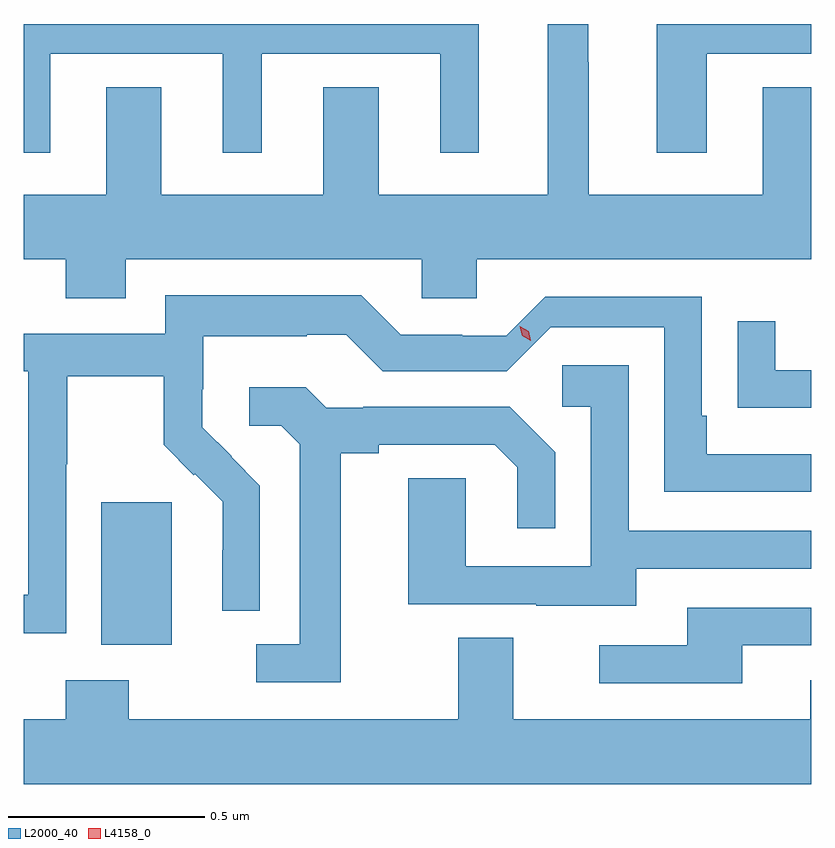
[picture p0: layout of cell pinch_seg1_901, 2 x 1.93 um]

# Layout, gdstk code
import gdstk
lib = gdstk.Library(unit=1e-6, precision=1e-09)
def R(c, l, rs):  # rectangles x0, y0, x1, y1
    for r in rs: c.add(gdstk.rectangle(r[:2], r[2:], *l))
def P(c, l, *ps):  # polygons
    for p in ps: c.add(gdstk.Polygon(p, *l))
L2000_40 = (2000, 40)
L4158_0 = (4158, 0)

pinch_seg1_901 = lib.new_cell('pinch_seg1_901')
R(pinch_seg1_901, L2000_40, [(613.319,526.778,613.498,527.139)])
P(pinch_seg1_901, L2000_40, [(614.857,528.278),(615.122,528.278),(615.122,528.354),(614.729,528.354),(614.729,528.027),(614.857,528.027)],
  [(613.381,527.756),(614.133,527.756),(614.133,527.658),(614.272,527.658),(614.272,527.756),(615.122,527.756),(615.122,528.193),(614.999,528.193),(614.999,527.92),(614.557,527.92),(614.557,528.257),(614.556,528.257),(614.556,528.354),(614.453,528.354),(614.453,527.92),(614.023,527.92),(614.023,528.193),(613.883,528.193),(613.883,527.92),(613.471,527.92),(613.471,528.193),(613.331,528.193),(613.331,527.92),(613.122,527.92),(613.122,527.756),(613.229,527.756),(613.229,527.657),(613.381,527.657)],
  [(613.189,528.278),(613.628,528.278),(613.628,528.027),(613.726,528.027),(613.726,528.278),(614.18,528.278),(614.18,528.027),(614.278,528.027),(614.278,528.354),(613.122,528.354),(613.122,528.027),(613.189,528.027)],
  [(613.23,527.236),(613.233,527.236),(613.233,527.46),(613.477,527.46),(613.477,527.285),(613.554,527.208),(613.557,527.211),(613.628,527.141),(613.628,527.018),(613.626,527.018),(613.626,526.864),(613.722,526.864),(613.722,527.182),(613.649,527.255),(613.65,527.256),(613.576,527.33),(613.576,527.427),(613.578,527.427),(613.578,527.561),(613.841,527.561),(613.841,527.565),(613.941,527.565),(614.034,527.472),(614.349,527.472),(614.461,527.584),(614.748,527.584),(614.748,527.166),(615.122,527.166),(615.122,527.262),(614.857,527.262),(614.857,527.359),(614.844,527.359),(614.844,527.661),(614.447,527.661),(614.348,527.562),(614.236,527.562),(614.236,527.565),(614.079,527.565),(613.979,527.665),(613.482,527.665),(613.482,527.568),(613.122,527.568),(613.122,527.472),(613.134,527.472),(613.134,526.905),(613.122,526.905),(613.122,526.807),(613.23,526.807)],
  [(615.122,527.475),(615.031,527.475),(615.031,527.599),(614.935,527.599),(614.935,527.38),(615.037,527.38),(615.037,527.379),(615.122,527.379)],
  [(614.677,526.971),(615.122,526.971),(615.122,527.067),(614.658,527.067),(614.658,527.488),(614.49,527.488),(614.49,527.382),(614.562,527.382),(614.562,526.977),(614.244,526.977),(614.244,527.201),(614.099,527.201),(614.099,526.881),(614.423,526.881),(614.423,526.877),(614.677,526.877)],
  [(613.927,527.264),(614.023,527.264),(614.023,527.286),(614.318,527.286),(614.375,527.229),(614.375,527.073),(614.472,527.073),(614.472,527.266),(614.356,527.382),(613.984,527.382),(613.984,527.379),(613.89,527.379),(613.838,527.431),(613.695,527.431),(613.695,527.334),(613.776,527.334),(613.823,527.287),(613.823,526.779),(613.713,526.779),(613.713,526.683),(613.927,526.683)],
  [(614.947,526.776),(615.122,526.776),(615.122,526.872),(614.807,526.872),(614.807,526.776),(614.583,526.776),(614.583,526.68),(614.947,526.68)],
  [(615.122,526.687),(615.119,526.687),(615.119,526.588),(614.365,526.588),(614.365,526.796),(614.225,526.796),(614.225,526.588),(613.389,526.588),(613.389,526.687),(613.229,526.687),(613.229,526.588),(613.122,526.588),(613.122,526.424),(615.122,526.424)])
P(pinch_seg1_901, L4158_0, [(614.41,527.549),(614.388,527.562),(614.382,527.586),(614.382,527.586),(614.382,527.586),(614.404,527.574),(614.41,527.55),(614.41,527.549)])

lib.write_gds('pinch_seg1_901.gds')
